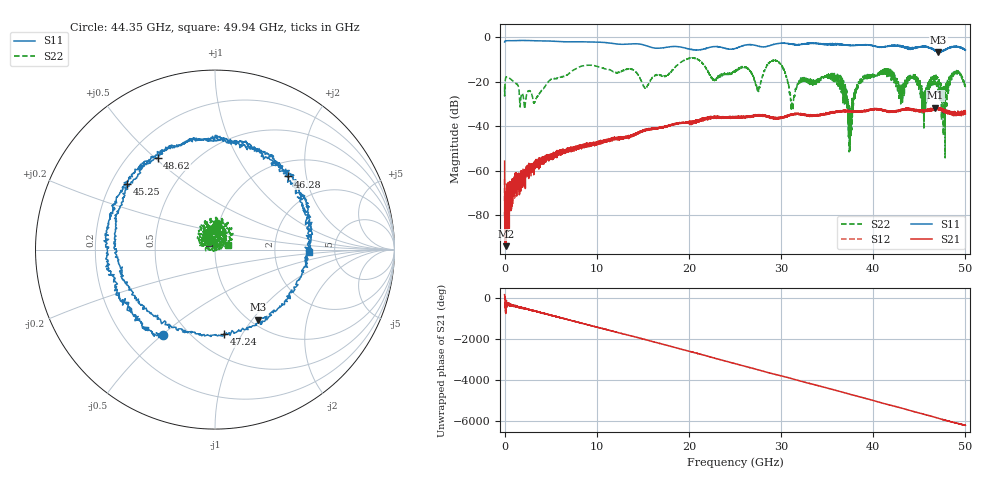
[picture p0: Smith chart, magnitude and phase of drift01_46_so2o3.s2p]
!Created with skrf (http://scikit-rf.org).
# Hz S RI R 50.0
!freq ReS11 ImS11 ReS21 ImS21 ReS12 ImS12 ReS22 ImS22
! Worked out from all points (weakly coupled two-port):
!   10001 points, 300 kHz to 50 GHz, reference 50 ohm
!   highest |S21| = -31.54 dB at 46.73 GHz (marker M1); lowest = -93.9 dB at 135.3 MHz (marker M2)
!   lowest |S11| = -6.8 dB at 47.07 GHz (marker M3), VSWR 2.69, Z = 54.1 - j53.5 ohm
!   |S11| at or under -10 dB: nowhere
!   |S22| runs from -54.2 to -9.2 dB; largest |S21 - S12| = 0.0037
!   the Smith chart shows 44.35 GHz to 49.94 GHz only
!   S11 on the Smith chart (normalised r, x): 44.35 GHz: 0.36, -0.50; 45.25 GHz: 0.26, +0.31; 46.28 GHz: 1.29, +1.57; 47.24 GHz: 0.69, -0.84; 48.62 GHz: 0.32, +0.51; 49.94 GHz: 3.17, -0.13
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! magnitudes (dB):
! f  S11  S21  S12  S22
! 300 kHz  -2.1  -55.7  -63.9  -22.1
! 135.3 MHz  -1.5  -93.9  -78.2  -17.9
! 3.285 GHz  -1.5  -57.6  -57.4  -28.9
! 8.335 GHz  -2.0  -48.7  -49.1  -12.9
! 16.67 GHz  -4.9  -40.7  -40.8  -16.7
! 25 GHz  -5.0  -35.9  -36.0  -15.4
! 29.59 GHz  -2.8  -36.2  -36.3  -10.6
! 31.24 GHz  -3.0  -34.6  -34.7  -31.4
! 33.34 GHz  -2.6  -35.3  -35.3  -19.2
! 36.22 GHz  -3.1  -33.3  -33.3  -20.7
! 37.49 GHz  -3.6  -33.3  -33.3  -41.0
! 38.67 GHz  -3.3  -33.3  -33.1  -20.3
! 41.67 GHz  -3.9  -33.2  -33.5  -15.3
! 44.35 GHz  -5.0  -32.8  -32.4  -16.9
! 45.25 GHz  -4.2  -32.8  -33.1  -21.7
! 46.28 GHz  -4.8  -32.3  -32.1  -18.3
! 46.73 GHz  -5.8  -31.5  -32.1  -19.9
! 47.07 GHz  -6.8  -31.8  -32.0  -23.9
! 47.24 GHz  -6.5  -32.2  -32.1  -27.6
! 48.62 GHz  -4.4  -33.8  -34.1  -17.5
! 49.94 GHz  -5.7  -33.8  -33.6  -22.0
! 50 GHz  -5.6  -34.4  -33.6  -22.0
